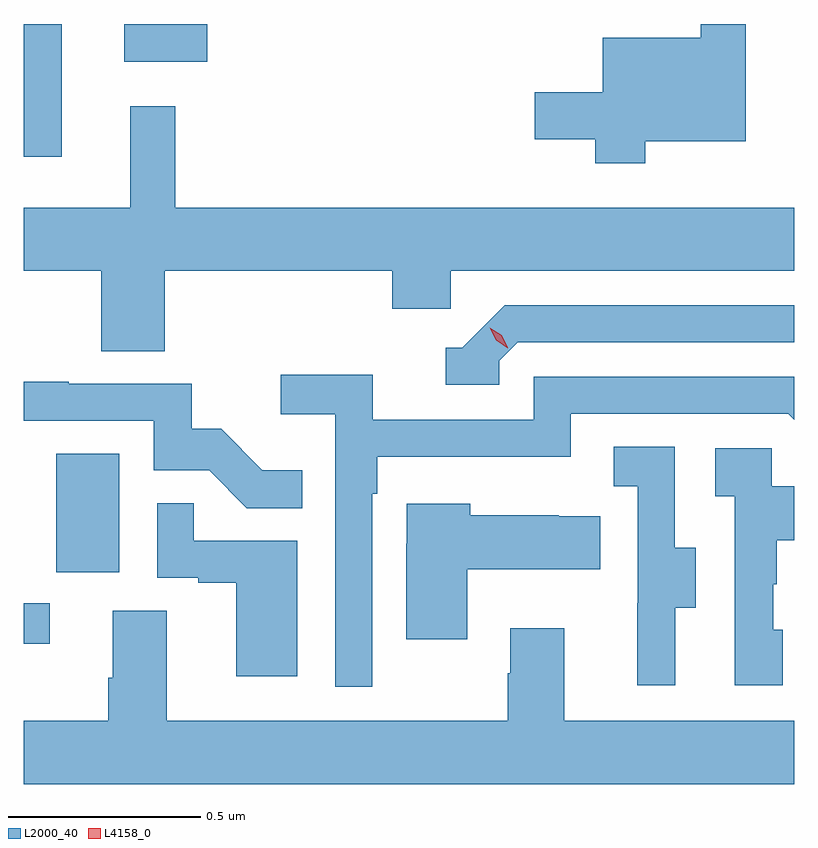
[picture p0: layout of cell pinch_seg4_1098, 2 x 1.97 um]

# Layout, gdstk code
import gdstk
lib = gdstk.Library(unit=1e-6, precision=1e-09)
def R(c, l, rs):  # rectangles x0, y0, x1, y1
    for r in rs: c.add(gdstk.rectangle(r[:2], r[2:], *l))
def P(c, l, *ps):  # polygons
    for p in ps: c.add(gdstk.Polygon(p, *l))
L2000_40 = (2000, 40)
L4158_0 = (4158, 0)

pinch_seg4_1098 = lib.new_cell('pinch_seg4_1098')
R(pinch_seg4_1098, L2000_40, [(854.324,761.22,854.392,761.325), (854.408,761.406,854.572,761.713), (854.324,762.485,854.422,762.829), (854.585,762.731,854.8,762.829)])
P(pinch_seg4_1098, L2000_40, [(855.937,762.524),(856.198,762.524),(856.198,762.829),(856.081,762.829),(856.081,762.793),(855.827,762.793),(855.827,762.652),(855.651,762.652),(855.651,762.53),(855.808,762.53),(855.808,762.467),(855.937,762.467)],
  [(854.69,762.188),(855.281,762.188),(855.281,762.09),(855.432,762.09),(855.432,762.188),(856.324,762.188),(856.324,762.352),(854.717,762.352),(854.717,762.616),(854.6,762.616),(854.6,762.352),(854.324,762.352),(854.324,762.188),(854.525,762.188),(854.525,761.98),(854.69,761.98)],
  [(855.558,761.955),(855.606,762.003),(856.324,762.003),(856.324,762.099),(855.573,762.099),(855.462,761.988),(855.419,761.988),(855.419,761.892),(855.558,761.892)],
  [(855.228,761.609),(855.242,761.609),(855.242,761.706),(855.744,761.706),(855.744,761.817),(856.308,761.817),(856.324,761.801),(856.324,761.913),(855.648,761.913),(855.648,761.802),(855.23,761.802),(855.23,761.918),(854.991,761.918),(854.991,761.816),(855.132,761.816),(855.132,761.109),(855.228,761.109)],
  [(855.047,761.671),(854.943,761.671),(854.836,761.778),(854.76,761.778),(854.76,761.895),(854.441,761.895),(854.441,761.9),(854.324,761.9),(854.324,761.799),(854.661,761.799),(854.661,761.67),(854.805,761.67),(854.903,761.572),(855.047,761.572)],
  [(856.015,761.314),(856.069,761.314),(856.069,761.469),(856.014,761.469),(856.014,761.732),(855.855,761.732),(855.855,761.629),(855.918,761.629),(855.918,761.325),(855.917,761.325),(855.917,761.112),(856.015,761.112)],
  [(856.294,761.256),(856.269,761.256),(856.269,761.375),(856.279,761.375),(856.279,761.489),(856.324,761.489),(856.324,761.629),(856.266,761.629),(856.266,761.727),(856.119,761.727),(856.119,761.603),(856.17,761.603),(856.17,761.112),(856.294,761.112)],
  [(855.034,761.487),(854.765,761.487),(854.765,761.585),(854.67,761.585),(854.67,761.391),(854.777,761.391),(854.777,761.379),(854.876,761.379),(854.876,761.136),(855.034,761.136)],
  [(855.475,761.414),(855.821,761.414),(855.821,761.551),(855.713,761.551),(855.713,761.554),(855.483,761.554),(855.483,761.583),(855.318,761.583),(855.318,761.48),(855.317,761.48),(855.317,761.232),(855.475,761.232)],
  [(856.324,761.02),(855.727,761.02),(855.727,761.26),(855.587,761.26),(855.587,761.144),(855.58,761.144),(855.58,761.02),(854.695,761.02),(854.695,761.306),(854.555,761.306),(854.555,761.132),(854.543,761.132),(854.543,761.02),(854.324,761.02),(854.324,760.856),(856.324,760.856)])
P(pinch_seg4_1098, L4158_0, [(855.58,761.987),(855.55,762.008),(855.534,762.04),(855.534,762.041),(855.534,762.041),(855.565,762.021),(855.581,761.988),(855.581,761.987)])

lib.write_gds('pinch_seg4_1098.gds')
